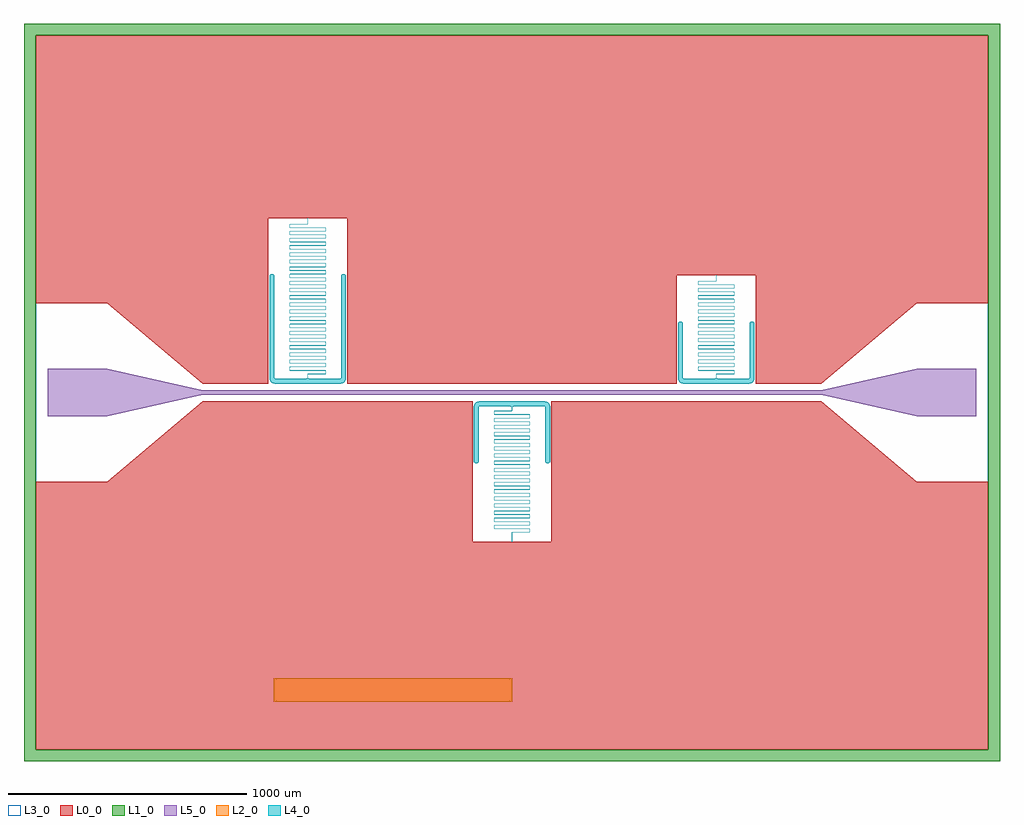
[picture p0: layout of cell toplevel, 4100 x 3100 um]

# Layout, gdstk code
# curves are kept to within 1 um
import gdstk
lib = gdstk.Library(unit=1e-6, precision=1e-09)
def R(c, l, rs):  # rectangles x0, y0, x1, y1
    for r in rs: c.add(gdstk.rectangle(r[:2], r[2:], *l))
def P(c, l, *ps):  # polygons
    for p in ps: c.add(gdstk.Polygon(p, *l))
L0_0 = (0, 0)
L1_0 = (1, 0)
L2_0 = (2, 0)
L3_0 = (3, 0)
L4_0 = (4, 0)
L5_0 = (5, 0)

toplevel = lib.new_cell('toplevel')
P(toplevel, L0_0, [(-693,732.5),(-693,37.5),(693,37.5),(693,492.5),(1023,492.5),(1023,37.5),(1300,37.5),(1700,375),(2000,375),(2000,1500),(-2000,1500),(-2000,375),(-1700,375),(-1300,37.5),(-1023,37.5),(-1023,732.5)],
  [(-2000,-1500),(2000,-1500),(2000,-375),(1700,-375),(1300,-37.5),(165,-37.5),(165,-627.5),(-165,-627.5),(-165,-37.5),(-1300,-37.5),(-1700,-375),(-2000,-375)])
P(toplevel, L1_0, [(2050,1550),(-2050,1550),(-2050,-1500),(-2000,-1500),(-2000,1500),(2000,1500),(2000,-1500),(-2000,-1500),(-2050,-1500),(-2050,-1550),(2050,-1550)])
R(toplevel, L2_0, [(-1000,-1300,0,-1200)])
R(toplevel, L3_0, [(-2000,-1500,2000,1500)])
P(toplevel, L4_0, [(-726.256,37.5),(-715.018,38.652),(-706.664,42.765),(-700.925,49.852),(-698.25,59.469),(-698,302.861),(-718,302.861),(-718.028,63.36),(-719.06,58.461),(-725.931,57.5),(-848,57.5),(-857.7,62.5),(-857.291,77.175),(-783.361,77.305),(-782.703,78.388),(-782.702,91.589),(-783.693,92.78),(-932.666,93.171),(-932.696,106.609),(-932.132,107.195),(-782.928,107.636),(-782.704,121.63),(-783.73,122.785),(-931.888,122.8),(-932.7,123.606),(-932.176,137.191),(-782.961,137.594),(-782.707,151.684),(-783.755,152.787),(-931.94,152.8),(-932.7,153.591),(-932.184,167.19),(-783.035,167.513),(-782.707,181.684),(-783.755,182.787),(-931.94,182.8),(-932.7,183.591),(-932.184,197.19),(-783.118,197.442),(-782.707,211.683),(-783.755,212.787),(-931.935,212.8),(-932.7,213.591),(-932.184,227.19),(-783.211,227.379),(-782.702,241.56),(-783.755,242.787),(-931.935,242.8),(-932.699,243.48),(-932.184,257.19),(-783.407,257.287),(-782.706,258.346),(-782.702,271.56),(-783.755,272.787),(-931.935,272.8),(-932.699,273.476),(-932.184,287.19),(-783.571,287.241),(-782.706,288.34),(-782.702,301.56),(-784.111,302.8),(-933.195,302.861),(-931.964,302.2),(-783.428,302.03),(-783.798,287.812),(-931.888,287.8),(-932.959,287.492),(-933.3,286.404),(-933.287,273.249),(-932.251,272.213),(-783.458,272.061),(-783.798,257.812),(-931.888,257.8),(-932.959,257.492),(-933.3,256.404),(-933.295,243.352),(-932.251,242.213),(-783.535,242.115),(-783.798,227.812),(-931.888,227.8),(-932.959,227.492),(-933.3,226.404),(-933.289,213.274),(-932.251,212.213),(-783.686,212.17),(-783.605,197.854),(-932.245,197.787),(-933.292,196.684),(-933.3,183.59),(-931.97,182.2),(-783.816,182.19),(-783.466,167.932),(-932.245,167.787),(-933.292,166.684),(-933.3,153.59),(-931.97,152.2),(-783.816,152.19),(-783.433,137.964),(-932.251,137.787),(-933.294,136.666),(-933.3,123.595),(-932.987,122.535),(-931.888,122.2),(-783.85,122.193),(-783.303,121.595),(-783.3,108.612),(-784.112,107.8),(-932.238,107.788),(-933.294,106.653),(-933.3,93.612),(-932.982,92.529),(-931.888,92.2),(-783.811,92.19),(-783.45,77.946),(-857.481,77.746),(-858.296,76.612),(-858.3,62.5),(-868,57.5),(-990.878,57.504),(-996.976,58.489),(-997.998,64.94),(-998,302.861),(-1018,302.861),(-1017.965,62.829),(-1015.945,51.792),(-1013.619,47.373),(-1010.507,43.761),(-1002.471,39.103),(-992.255,37.524)],
  [(-932.433,302.869),(-932.631,303.067),(-932.699,303.471),(-932.698,316.567),(-932.572,317.03),(-932.184,317.19),(-784.036,317.2),(-783.526,317.252),(-783.142,317.424),(-782.875,317.718),(-782.73,318.13),(-782.707,331.678),(-782.797,332.119),(-783.008,332.459),(-783.328,332.681),(-783.755,332.787),(-931.935,332.8),(-932.476,332.891),(-932.678,333.229),(-932.698,346.567),(-932.572,347.03),(-932.184,347.19),(-784.036,347.2),(-783.532,347.25),(-783.148,347.42),(-782.883,347.705),(-782.733,348.11),(-782.707,361.677),(-782.797,362.119),(-783.008,362.459),(-783.328,362.681),(-783.755,362.787),(-931.935,362.8),(-932.471,362.888),(-932.675,363.213),(-932.698,376.567),(-932.572,377.03),(-932.184,377.19),(-784.036,377.2),(-783.532,377.25),(-783.155,377.415),(-782.887,377.699),(-782.737,378.091),(-782.707,391.677),(-782.797,392.119),(-783.008,392.459),(-783.328,392.681),(-783.755,392.787),(-931.935,392.8),(-932.468,392.887),(-932.673,393.201),(-932.698,406.567),(-932.572,407.03),(-932.18,407.191),(-784.041,407.2),(-783.545,407.247),(-783.167,407.407),(-782.898,407.68),(-782.743,408.065),(-782.707,421.677),(-782.797,422.119),(-783.008,422.459),(-783.328,422.681),(-783.755,422.787),(-931.93,422.8),(-932.46,422.882),(-932.67,423.186),(-932.698,436.567),(-932.572,437.03),(-932.18,437.191),(-784.041,437.2),(-783.552,437.245),(-783.18,437.398),(-782.907,437.667),(-782.749,438.039),(-782.707,451.677),(-782.797,452.119),(-783.008,452.459),(-783.328,452.681),(-783.755,452.787),(-931.93,452.8),(-932.454,452.879),(-932.665,453.168),(-932.698,466.567),(-932.572,467.03),(-932.18,467.191),(-784.041,467.2),(-783.558,467.244),(-783.192,467.39),(-782.92,467.648),(-782.757,468.006),(-782.707,481.671),(-782.795,482.112),(-783.002,482.453),(-783.328,482.681),(-783.755,482.787),(-931.93,482.8),(-932.445,482.875),(-932.66,483.15),(-932.698,496.563),(-932.572,497.03),(-932.18,497.191),(-784.041,497.2),(-783.205,497.383),(-782.937,497.624),(-782.768,497.967),(-782.7,498.547),(-782.707,511.671),(-782.795,512.112),(-783.002,512.453),(-783.328,512.681),(-783.755,512.787),(-931.93,512.8),(-932.436,512.871),(-932.654,513.129),(-932.698,526.563),(-932.572,527.03),(-932.18,527.191),(-784.047,527.2),(-783.231,527.368),(-782.961,527.593),(-782.783,527.921),(-782.7,528.541),(-782.707,541.672),(-782.795,542.112),(-783.002,542.453),(-783.328,542.681),(-783.755,542.787),(-931.925,542.8),(-932.421,542.864),(-932.645,543.102),(-932.698,556.563),(-932.572,557.03),(-932.18,557.191),(-784.047,557.2),(-783.25,557.357),(-782.981,557.57),(-782.802,557.868),(-782.7,558.53),(-782.706,571.665),(-782.795,572.112),(-783.002,572.453),(-783.328,572.681),(-783.755,572.787),(-931.925,572.8),(-932.405,572.858),(-932.633,573.073),(-932.7,573.55),(-932.698,586.558),(-932.574,587.028),(-932.18,587.191),(-784.052,587.2),(-783.283,587.34),(-782.831,587.802),(-782.7,588.519),(-782.706,601.659),(-782.795,602.112),(-783.002,602.453),(-783.328,602.681),(-783.755,602.787),(-931.92,602.8),(-932.385,602.85),(-932.618,603.04),(-932.7,603.54),(-932.698,616.558),(-932.574,617.028),(-932.18,617.191),(-784.058,617.2),(-783.328,617.319),(-782.871,617.724),(-782.7,618.503),(-782.706,631.653),(-782.792,632.106),(-783.002,632.453),(-783.328,632.681),(-783.755,632.787),(-931.92,632.8),(-932.361,632.843),(-932.596,633.003),(-932.7,633.53),(-932.698,646.553),(-932.574,647.028),(-932.18,647.191),(-784.063,647.2),(-783.388,647.295),(-782.937,647.624),(-782.76,647.993),(-782.701,648.48),(-782.705,661.642),(-782.79,662.099),(-782.997,662.448),(-783.322,662.678),(-783.749,662.787),(-931.914,662.8),(-932.328,662.834),(-932.565,662.962),(-932.7,663.52),(-932.699,676.544),(-932.575,677.025),(-932.18,677.191),(-784.074,677.2),(-783.473,677.266),(-783.047,677.502),(-782.79,677.901),(-782.701,678.452),(-782.704,691.618),(-782.785,692.086),(-782.991,692.442),(-783.315,692.675),(-783.749,692.787),(-931.909,692.8),(-932.514,692.916),(-932.654,693.129),(-932.699,693.5),(-932.699,706.505),(-932.602,706.987),(-932.287,707.175),(-859.069,707.2),(-858.257,707.354),(-857.843,707.776),(-857.701,708.457),(-857.7,732.5),(-858.3,732.5),(-858.3,708.52),(-858.355,708.102),(-858.535,707.885),(-859.08,707.8),(-932.416,707.761),(-932.795,707.617),(-933.067,707.37),(-933.236,707.02),(-933.298,706.571),(-933.298,693.429),(-933.184,692.835),(-932.864,692.428),(-932.461,692.249),(-931.92,692.2),(-783.82,692.191),(-783.425,692.025),(-783.301,691.539),(-783.3,678.51),(-783.456,677.941),(-784.091,677.8),(-932.251,677.787),(-932.685,677.675),(-933.008,677.442),(-933.213,677.092),(-933.296,676.63),(-933.299,663.463),(-933.226,662.947),(-933.014,662.564),(-932.573,662.281),(-931.931,662.2),(-783.82,662.191),(-783.425,662.025),(-783.302,661.548),(-783.3,648.525),(-783.418,647.984),(-783.653,647.839),(-784.086,647.8),(-932.245,647.787),(-932.678,647.678),(-933.003,647.448),(-933.21,647.099),(-933.295,646.648),(-933.299,633.491),(-933.25,633.032),(-933.097,632.673),(-932.645,632.308),(-931.937,632.2),(-783.82,632.191),(-783.426,632.028),(-783.302,631.553),(-783.3,618.54),(-783.391,618.024),(-783.625,617.847),(-784.08,617.8),(-932.245,617.787),(-932.671,617.681),(-932.998,617.453),(-933.205,617.112),(-933.294,616.659),(-933.3,603.508),(-933.15,602.763),(-932.698,602.331),(-931.948,602.2),(-783.82,602.191),(-783.426,602.028),(-783.302,601.558),(-783.3,588.545),(-783.374,588.058),(-783.602,587.855),(-784.075,587.8),(-932.245,587.787),(-932.671,587.681),(-932.998,587.453),(-933.205,587.112),(-933.294,586.665),(-933.3,573.525),(-933.184,572.835),(-932.73,572.347),(-931.948,572.2),(-783.82,572.191),(-783.426,572.028),(-783.302,571.558),(-783.36,558.089),(-783.586,557.861),(-784.075,557.8),(-932.245,557.787),(-932.671,557.681),(-932.998,557.453),(-933.205,557.112),(-933.294,556.665),(-933.3,543.536),(-933.208,542.894),(-933.029,542.582),(-932.763,542.364),(-931.953,542.2),(-783.82,542.191),(-783.428,542.03),(-783.302,541.563),(-783.35,528.115),(-783.573,527.867),(-784.075,527.8),(-932.245,527.787),(-932.671,527.681),(-932.998,527.453),(-933.205,527.112),(-933.293,526.672),(-933.3,513.547),(-933.226,512.947),(-933.053,512.612),(-932.782,512.375),(-931.953,512.2),(-783.82,512.191),(-783.428,512.03),(-783.302,511.563),(-783.343,498.139),(-783.561,497.872),(-784.07,497.8),(-932.245,497.787),(-932.671,497.681),(-932.998,497.453),(-933.205,497.112),(-933.293,496.671),(-933.238,482.987),(-933.071,482.636),(-932.801,482.387),(-932.435,482.243),(-931.959,482.2),(-783.82,482.191),(-783.428,482.03),(-783.302,481.563),(-783.337,468.16),(-783.549,467.878),(-784.07,467.8),(-932.245,467.787),(-932.671,467.681),(-932.992,467.459),(-933.203,467.119),(-933.293,466.677),(-933.246,453.019),(-933.085,452.655),(-932.814,452.394),(-932.441,452.244),(-931.959,452.2),(-783.82,452.191),(-783.428,452.03),(-783.302,451.567),(-783.332,438.179),(-783.543,437.881),(-784.07,437.8),(-932.245,437.787),(-932.671,437.681),(-932.992,437.459),(-933.203,437.119),(-933.293,436.677),(-933.254,423.052),(-933.097,422.673),(-932.827,422.403),(-932.454,422.247),(-931.959,422.2),(-783.82,422.191),(-783.428,422.03),(-783.302,421.567),(-783.329,408.194),(-783.535,407.885),(-784.065,407.8),(-932.245,407.787),(-932.671,407.681),(-932.992,407.459),(-933.203,407.119),(-933.293,406.677),(-933.26,393.078),(-933.105,392.686),(-932.839,392.411),(-932.461,392.249),(-931.964,392.2),(-783.816,392.19),(-783.428,392.03),(-783.302,391.567),(-783.325,378.209),(-783.529,377.888),(-784.065,377.8),(-932.245,377.787),(-932.671,377.681),(-932.992,377.459),(-933.203,377.119),(-933.293,376.677),(-933.264,363.097),(-933.113,362.699),(-932.845,362.415),(-932.468,362.25),(-931.964,362.2),(-783.816,362.19),(-783.428,362.03),(-783.302,361.567),(-783.323,348.221),(-783.526,347.89),(-784.065,347.8),(-932.245,347.787),(-932.671,347.681),(-932.992,347.459),(-933.203,347.119),(-933.293,346.677),(-933.269,333.123),(-933.121,332.711),(-932.852,332.42),(-932.468,332.25),(-931.964,332.2),(-783.816,332.19),(-783.428,332.03),(-783.302,331.567),(-783.321,318.233),(-783.521,317.893),(-784.065,317.8),(-932.245,317.787),(-932.717,317.66),(-933.058,317.382),(-933.25,316.968),(-933.3,316.404),(-933.294,303.334),(-933.195,302.861)],
  [(-998,487.5),(-1000.627,494.256),(-1007.564,497.49),(-1014.756,494.873),(-1017.962,488.372),(-1018,302.861),(-998,302.861)],
  [(-698,487.5),(-700.627,494.256),(-707.564,497.49),(-714.756,494.873),(-717.962,488.372),(-718,302.861),(-698,302.861)],
  [(-149.564,-297.49),(-143.244,-294.873),(-140.152,-289.236),(-140,-243.11),(-160,-243.11),(-159.848,-289.236),(-156.088,-295.433)],
  [(0.3,-588.55),(0.439,-587.958),(0.956,-587.801),(74.468,-587.75),(74.833,-587.593),(75.113,-587.301),(75.257,-586.935),(75.3,-586.388),(75.295,-573.364),(75.102,-572.68),(74.652,-572.31),(73.926,-572.2),(-74.18,-572.191),(-74.575,-572.025),(-74.699,-571.544),(-74.7,-558.52),(-74.648,-558.112),(-74.494,-557.902),(-73.914,-557.8),(74.251,-557.787),(74.678,-557.678),(75.003,-557.448),(75.21,-557.099),(75.295,-556.642),(75.299,-543.48),(75.208,-542.894),(74.918,-542.471),(74.468,-542.25),(73.937,-542.2),(-74.18,-542.191),(-74.574,-542.028),(-74.698,-541.553),(-74.7,-528.53),(-74.554,-527.95),(-74.321,-527.832),(-73.92,-527.8),(74.245,-527.787),(74.671,-527.681),(74.998,-527.453),(75.208,-527.106),(75.294,-526.654),(75.299,-513.503),(75.234,-512.973),(75.039,-512.593),(74.599,-512.29),(73.942,-512.2),(-74.18,-512.191),(-74.574,-512.028),(-74.698,-511.558),(-74.7,-498.54),(-74.599,-498.008),(-74.385,-497.85),(-73.92,-497.8),(74.245,-497.787),(74.671,-497.681),(74.998,-497.453),(75.205,-497.112),(75.294,-496.659),(75.3,-483.519),(75.129,-482.724),(74.639,-482.305),(73.948,-482.2),(-74.18,-482.191),(-74.574,-482.027),(-74.698,-481.558),(-74.7,-468.55),(-74.615,-468.035),(-74.361,-467.843),(-73.925,-467.8),(74.245,-467.787),(74.671,-467.681),(74.998,-467.453),(75.205,-467.112),(75.294,-466.665),(75.3,-453.53),(75.163,-452.789),(74.75,-452.357),(73.953,-452.2),(-74.18,-452.191),(-74.572,-452.03),(-74.698,-451.563),(-74.7,-438.555),(-74.626,-438.058),(-74.378,-437.848),(-73.925,-437.8),(74.245,-437.787),(74.671,-437.681),(74.998,-437.453),(75.205,-437.112),(75.293,-436.671),(75.3,-423.541),(75.181,-422.828),(74.982,-422.529),(74.691,-422.328),(73.953,-422.2),(-74.18,-422.191),(-74.572,-422.03),(-74.698,-421.563),(-74.7,-408.56),(-74.637,-408.082),(-74.392,-407.853),(-73.93,-407.8),(74.245,-407.787),(74.671,-407.681),(74.998,-407.453),(75.205,-407.112),(75.293,-406.671),(75.3,-393.547),(75.2,-392.875),(75.034,-392.587),(74.756,-392.36),(73.959,-392.2),(-74.18,-392.191),(-74.572,-392.03),(-74.698,-391.563),(-74.645,-378.102),(-74.398,-377.855),(-73.93,-377.8),(74.245,-377.787),(74.671,-377.681),(74.998,-377.453),(75.205,-377.112),(75.293,-376.671),(75.3,-363.558),(75.228,-362.954),(75.08,-362.648),(74.808,-362.39),(74.442,-362.244),(73.959,-362.2),(-74.18,-362.191),(-74.572,-362.03),(-74.698,-361.567),(-74.65,-348.115),(-74.454,-347.879),(-73.93,-347.8),(74.245,-347.787),(74.671,-347.681),(74.992,-347.459),(75.203,-347.119),(75.293,-346.677),(75.3,-333.563),(75.224,-332.94),(75.034,-332.587),(74.782,-332.375),(73.959,-332.2),(-74.18,-332.191),(-74.572,-332.03),(-74.698,-331.567),(-74.67,-318.186),(-74.46,-317.882),(-73.93,-317.8),(74.245,-317.787),(74.671,-317.681),(74.992,-317.459),(75.203,-317.119),(75.293,-316.678),(75.245,-303.013),(75.102,-302.68),(74.833,-302.407),(74.454,-302.247),(73.959,-302.2),(-74.18,-302.191),(-74.572,-302.03),(-74.698,-301.567),(-74.673,-288.202),(-74.468,-287.887),(-73.935,-287.8),(74.245,-287.787),(74.671,-287.681),(74.992,-287.459),(75.203,-287.119),(75.293,-286.678),(75.25,-273.032),(75.085,-272.655),(74.808,-272.39),(74.416,-272.238),(73.964,-272.2),(-74.184,-272.19),(-74.572,-272.03),(-74.698,-271.567),(-74.675,-258.213),(-74.471,-257.888),(-73.935,-257.8),(74.245,-257.787),(74.671,-257.681),(74.992,-257.459),(75.203,-257.119),(75.293,-256.677),(75.267,-243.11),(74.648,-243.11),(74.698,-256.567),(74.572,-257.03),(74.184,-257.19),(-73.964,-257.2),(-74.468,-257.25),(-74.845,-257.415),(-75.113,-257.699),(-75.264,-258.097),(-75.293,-271.678),(-75.203,-272.119),(-74.992,-272.459),(-74.671,-272.681),(-74.245,-272.787),(73.935,-272.8),(74.471,-272.888),(74.675,-273.209),(74.698,-286.567),(74.572,-287.03),(74.184,-287.19),(-73.964,-287.2),(-74.461,-287.249),(-74.839,-287.411),(-75.106,-287.686),(-75.26,-288.078),(-75.293,-301.678),(-75.203,-302.119),(-74.992,-302.459),(-74.671,-302.681),(-74.245,-302.787),(73.935,-302.8),(74.465,-302.885),(74.671,-303.194),(74.698,-316.567),(74.572,-317.03),(74.18,-317.191),(-73.959,-317.2),(-74.454,-317.247),(-74.827,-317.403),(-75.097,-317.673),(-75.241,-318),(-75.293,-331.678),(-75.203,-332.119),(-74.992,-332.459),(-74.671,-332.681),(-74.245,-332.787),(73.93,-332.8),(74.411,-332.86),(74.653,-333.125),(74.698,-346.567),(74.572,-347.03),(74.18,-347.191),(-73.959,-347.2),(-74.776,-347.371),(-75.058,-347.618),(-75.232,-347.967),(-75.3,-348.558),(-75.293,-361.677),(-75.203,-362.119),(-74.992,-362.459),(-74.671,-362.681),(-74.245,-362.787),(73.93,-362.8),(74.405,-362.858),(74.647,-363.108),(74.698,-376.563),(74.572,-377.03),(74.18,-377.191),(-73.959,-377.2),(-74.763,-377.364),(-75.044,-377.599),(-75.208,-377.894),(-75.3,-378.552),(-75.293,-391.671),(-75.205,-392.112),(-74.998,-392.453),(-74.671,-392.681),(-74.245,-392.787),(73.93,-392.8),(74.439,-392.872),(74.641,-393.092),(74.698,-406.563),(74.572,-407.03),(74.18,-407.191),(-73.953,-407.2),(-74.743,-407.353),(-75.024,-407.576),(-75.21,-407.901),(-75.3,-408.547),(-75.293,-421.671),(-75.205,-422.112),(-74.998,-422.453),(-74.671,-422.681),(-74.245,-422.787),(73.925,-422.8),(74.382,-422.849),(74.632,-423.07),(74.7,-423.56),(74.698,-436.563),(74.572,-437.03),(74.18,-437.191),(-73.953,-437.2),(-74.685,-437.325),(-74.97,-437.518),(-75.172,-437.809),(-75.3,-438.536),(-75.294,-451.665),(-75.205,-452.112),(-74.998,-452.453),(-74.671,-452.681),(-74.245,-452.787),(73.925,-452.8),(74.414,-452.861),(74.622,-453.049),(74.7,-453.555),(74.698,-466.558),(74.574,-467.027),(74.18,-467.191),(-73.948,-467.2),(-74.652,-467.31),(-74.942,-467.491),(-75.146,-467.757),(-75.3,-468.525),(-75.294,-481.665),(-75.205,-482.112),(-74.998,-482.453),(-74.671,-482.681),(-74.245,-482.787),(73.925,-482.8),(74.398,-482.855),(74.607,-483.021),(74.7,-483.545),(74.698,-496.558),(74.574,-497.027),(74.18,-497.191),(-73.948,-497.2),(-74.619,-497.297),(-75.062,-497.624),(-75.243,-498.006),(-75.3,-498.508),(-75.294,-511.659),(-75.205,-512.112),(-74.998,-512.453),(-74.671,-512.681),(-74.245,-512.787),(73.92,-512.8),(74.332,-512.835),(74.566,-512.964),(74.7,-513.54),(74.698,-526.553),(74.574,-527.028),(74.18,-527.191),(-73.937,-527.2),(-74.494,-527.257),(-74.959,-527.508),(-75.222,-527.934),(-75.299,-528.491),(-75.295,-541.648),(-75.21,-542.099),(-75.003,-542.448),(-74.678,-542.678),(-74.245,-542.787),(73.914,-542.8),(74.54,-542.937),(74.7,-543.525),(74.698,-556.548),(74.575,-557.025),(74.18,-557.191),(-73.931,-557.2),(-74.435,-557.243),(-74.82,-557.398),(-75.184,-557.835),(-75.299,-558.463),(-75.296,-571.63),(-75.213,-572.092),(-75.008,-572.442),(-74.685,-572.675),(-74.251,-572.787),(74.411,-572.86),(74.628,-573.061),(74.7,-573.51),(74.699,-586.515),(74.601,-586.989),(74.287,-587.175),(1.058,-587.2),(0.526,-587.252),(0.136,-587.428),(-0.195,-587.861),(-0.3,-588.508),(-0.3,-627.5),(0.3,-627.5)],
  [(150.436,-297.49),(156.756,-294.873),(159.848,-289.236),(160,-243.11),(140,-243.11),(140.152,-289.236),(143.912,-295.433)],
  [(160,-65.846),(158.848,-54.518),(154.523,-45.9),(147.232,-40.22),(137.094,-37.664),(-133.348,-37.508),(-141.658,-38.327),(-148.342,-40.789),(-153.012,-44.24),(-156.634,-49.02),(-158.884,-54.652),(-159.905,-61.426),(-160,-243.11),(-140,-243.11),(-139.962,-63.083),(-138.918,-58.445),(-132.069,-57.5),(-10,-57.5),(-0.3,-62.5),(-0.709,-77.175),(-74.639,-77.305),(-75.296,-78.388),(-75.297,-91.589),(-74.307,-92.78),(74.65,-93.115),(74.132,-107.195),(-74.976,-107.524),(-75.296,-121.624),(-74.276,-122.784),(73.888,-122.8),(74.7,-123.612),(74.163,-137.192),(-74.9,-137.456),(-75.294,-151.654),(-74.245,-152.787),(73.888,-152.8),(74.7,-153.612),(74.184,-167.19),(-74.808,-167.39),(-75.296,-181.624),(-74.269,-182.785),(73.888,-182.8),(74.698,-183.423),(74.176,-197.191),(-74.645,-197.308),(-75.293,-198.328),(-75.298,-211.56),(-74.245,-212.787),(73.935,-212.8),(74.699,-213.466),(74.184,-227.19),(-74.416,-227.238),(-75.293,-228.322),(-75.298,-241.56),(-73.888,-242.8),(75.267,-243.11),(73.964,-242.2),(-74.542,-242.061),(-74.197,-227.811),(73.888,-227.8),(75.3,-226.404),(75.293,-213.328),(74.245,-212.213),(-74.465,-212.115),(-74.197,-197.811),(73.997,-197.799),(75.3,-196.378),(75.292,-183.31),(74.238,-182.212),(-74.291,-182.175),(-74.421,-167.864),(74.257,-167.786),(75.287,-166.751),(75.3,-153.601),(73.888,-152.2),(-74.171,-152.191),(-74.509,-137.912),(74.22,-137.79),(75.293,-136.678),(75.3,-123.606),(73.888,-122.2),(-74.15,-122.193),(-74.7,-108.612),(-73.888,-107.8),(74.238,-107.788),(75.294,-106.653),(75.3,-93.612),(73.888,-92.2),(-74.189,-92.19),(-74.519,-77.919),(-0.519,-77.746),(0.296,-76.612),(0.3,-62.5),(10,-57.5),(132.878,-57.504),(138.839,-58.392),(139.997,-64.78),(140,-243.11),(160,-243.11)],
  [(989.744,37.5),(1000.184,38.448),(1008.263,41.974),(1014.064,48.055),(1017.333,56.619),(1018,182.947),(998,182.947),(997.929,62.427),(996.839,58.392),(990.069,57.5),(868,57.5),(858.3,62.5),(858.709,77.175),(932.639,77.305),(933.297,91.589),(932.307,92.78),(783.371,93.064),(783.811,107.19),(932.814,107.394),(933.298,121.565),(932.238,122.788),(783.301,123.461),(783.816,137.19),(932.625,137.3),(933.298,151.56),(932.245,152.787),(784.065,152.8),(783.3,153.575),(783.82,167.191),(932.403,167.236),(933.29,168.286),(933.298,181.56),(931.888,182.8),(782.774,182.947),(784.041,182.2),(932.465,182.115),(932.189,167.81),(784.111,167.8),(782.7,166.404),(782.709,153.298),(783.761,152.212),(932.314,152.17),(932.424,137.865),(783.755,137.787),(782.707,136.678),(782.7,123.574),(784.036,122.2),(932.18,122.191),(932.7,108.622),(931.965,107.8),(783.798,107.791),(782.707,106.683),(782.7,93.622),(784.111,92.2),(932.189,92.19),(932.482,77.894),(858.519,77.746),(857.703,76.612),(857.7,62.5),(848,57.5),(725.602,57.501),(719.512,58.21),(718.396,59.981),(718.004,64.622),(718,182.947),(698,182.947),(698.204,59.941),(699.427,53.574),(701.936,48.055),(705.621,43.645),(710.49,40.356),(716.991,38.192),(725.042,37.504)],
  [(783.435,182.962),(783.3,183.575),(783.302,196.567),(783.428,197.03),(783.82,197.191),(931.959,197.2),(932.448,197.245),(932.82,197.398),(933.093,197.667),(933.251,198.039),(933.293,211.677),(933.203,212.119),(932.992,212.459),(932.671,212.681),(932.245,212.787),(784.07,212.8),(783.546,212.879),(783.335,213.168),(783.302,226.567),(783.428,227.03),(783.82,227.191),(931.959,227.2),(932.441,227.244),(932.808,227.39),(933.08,227.648),(933.243,228.006),(933.293,241.671),(933.205,242.112),(932.998,242.453),(932.671,242.681),(932.245,242.787),(784.07,242.8),(783.555,242.875),(783.34,243.15),(783.302,256.563),(783.428,257.03),(783.82,257.191),(931.959,257.2),(932.795,257.383),(933.062,257.624),(933.232,257.967),(933.3,258.547),(933.293,271.671),(933.205,272.112),(932.998,272.453),(932.671,272.681),(932.245,272.787),(784.07,272.8),(783.564,272.871),(783.346,273.129),(783.302,286.563),(783.428,287.03),(783.82,287.191),(931.953,287.2),(932.769,287.368),(933.039,287.594),(933.217,287.921),(933.3,288.541),(933.293,301.671),(933.205,302.112),(932.998,302.453),(932.671,302.681),(932.245,302.787),(784.075,302.8),(783.579,302.864),(783.355,303.102),(783.302,316.563),(783.428,317.03),(783.82,317.191),(931.953,317.2),(932.75,317.357),(933.019,317.57),(933.198,317.868),(933.3,318.53),(933.294,331.666),(933.205,332.112),(932.998,332.453),(932.671,332.681),(932.245,332.787),(784.075,332.8),(783.595,332.858),(783.367,333.073),(783.3,333.55),(783.302,346.558),(783.426,347.027),(783.82,347.191),(931.948,347.2),(932.717,347.34),(933.169,347.802),(933.3,348.519),(933.294,361.659),(933.205,362.112),(932.998,362.453),(932.671,362.681),(932.245,362.787),(784.08,362.8),(783.615,362.85),(783.382,363.04),(783.3,363.54),(783.302,376.558),(783.426,377.027),(783.82,377.191),(931.942,377.2),(932.671,377.319),(933.129,377.724),(933.299,378.503),(933.294,391.653),(933.208,392.106),(932.998,392.453),(932.671,392.681),(932.245,392.787),(784.08,392.8),(783.639,392.843),(783.404,393.003),(783.3,393.53),(783.302,406.553),(783.426,407.027),(783.82,407.191),(931.937,407.2),(932.612,407.295),(933.062,407.624),(933.24,407.993),(933.299,408.48),(933.295,421.642),(933.21,422.099),(933.003,422.448),(932.678,422.678),(932.251,422.787),(784.086,422.8),(783.672,422.834),(783.435,422.962),(783.3,423.52),(783.301,436.544),(783.425,437.025),(783.82,437.191),(931.926,437.2),(932.527,437.266),(932.953,437.502),(933.21,437.901),(933.299,438.452),(933.296,451.618),(933.215,452.086),(933.008,452.442),(932.685,452.675),(932.251,452.787),(784.091,452.8),(783.486,452.916),(783.346,453.129),(783.301,453.5),(783.301,466.505),(783.398,466.987),(783.713,467.175),(856.931,467.2),(857.743,467.353),(858.157,467.776),(858.299,468.457),(858.3,492.5),(857.7,492.5),(857.7,468.52),(857.645,468.102),(857.465,467.885),(856.92,467.8),(783.584,467.761),(783.205,467.617),(782.933,467.37),(782.764,467.02),(782.702,466.571),(782.702,453.429),(782.816,452.835),(783.136,452.428),(783.539,452.249),(784.08,452.2),(932.18,452.191),(932.575,452.025),(932.699,451.539),(932.7,438.51),(932.544,437.941),(931.909,437.8),(783.749,437.787),(783.315,437.675),(782.991,437.442),(782.787,437.092),(782.704,436.63),(782.701,423.463),(782.774,422.947),(782.986,422.564),(783.427,422.281),(784.069,422.2),(932.18,422.191),(932.575,422.025),(932.698,421.548),(932.7,408.525),(932.582,407.984),(932.347,407.839),(931.914,407.8),(783.755,407.787),(783.322,407.678),(782.997,407.448),(782.79,407.099),(782.705,406.647),(782.701,393.491),(782.75,393.032),(782.903,392.673),(783.355,392.308),(784.063,392.2),(932.18,392.191),(932.574,392.027),(932.698,391.553),(932.7,378.54),(932.609,378.024),(932.375,377.847),(931.92,377.8),(783.755,377.787),(783.328,377.681),(783.002,377.453),(782.795,377.112),(782.706,376.659),(782.7,363.508),(782.85,362.763),(783.302,362.331),(784.052,362.2),(932.18,362.191),(932.574,362.027),(932.698,361.558),(932.7,348.545),(932.626,348.058),(932.398,347.855),(931.925,347.8),(783.755,347.787),(783.328,347.681),(783.002,347.453),(782.795,347.112),(782.706,346.665),(782.7,333.525),(782.816,332.835),(783.002,332.547),(783.27,332.347),(784.052,332.2),(932.18,332.191),(932.574,332.027),(932.698,331.558),(932.64,318.089),(932.414,317.861),(931.925,317.8),(783.755,317.787),(783.328,317.681),(783.002,317.453),(782.795,317.112),(782.706,316.666),(782.7,303.536),(782.792,302.894),(782.971,302.582),(783.237,302.364),(784.047,302.2),(932.18,302.191),(932.572,302.03),(932.698,301.563),(932.649,288.115),(932.427,287.867),(931.925,287.8),(783.755,287.787),(783.328,287.681),(783.002,287.453),(782.795,287.112),(782.707,286.671),(782.7,273.547),(782.774,272.947),(782.947,272.612),(783.218,272.375),(784.047,272.2),(932.18,272.191),(932.572,272.03),(932.698,271.563),(932.657,258.139),(932.439,257.872),(931.93,257.8),(783.755,257.787),(783.328,257.681),(783.002,257.453),(782.795,257.112),(782.707,256.671),(782.762,242.987),(782.928,242.636),(783.199,242.387),(783.565,242.243),(784.041,242.2),(932.18,242.191),(932.572,242.03),(932.698,241.563),(932.663,228.16),(932.451,227.878),(931.93,227.8),(783.755,227.787),(783.328,227.681),(783.008,227.459),(782.797,227.119),(782.707,226.677),(782.754,213.019),(782.915,212.655),(783.186,212.394),(783.558,212.244),(784.041,212.2),(932.18,212.191),(932.572,212.03),(932.698,211.567),(932.668,198.179),(932.457,197.881),(931.93,197.8),(783.755,197.787),(783.328,197.681),(782.976,197.424),(782.764,197.02),(782.702,196.56),(782.703,183.406),(782.774,182.947)],
  [(718,287.5),(715.373,294.256),(708.872,297.462),(701.912,295.433),(698.152,289.236),(698,182.947),(718,182.947)],
  [(1018,287.5),(1015.373,294.256),(1008.872,297.462),(1001.912,295.433),(998.152,289.236),(998,182.947),(1018,182.947)])
P(toplevel, L5_0, [(-1300,10),(-1700,100),(-1950,100),(-1950,-100),(-1700,-100),(-1300,-10),(1300,-10),(1700,-100),(1950,-100),(1950,100),(1700,100),(1300,10)])

lib.write_gds('toplevel.gds')
